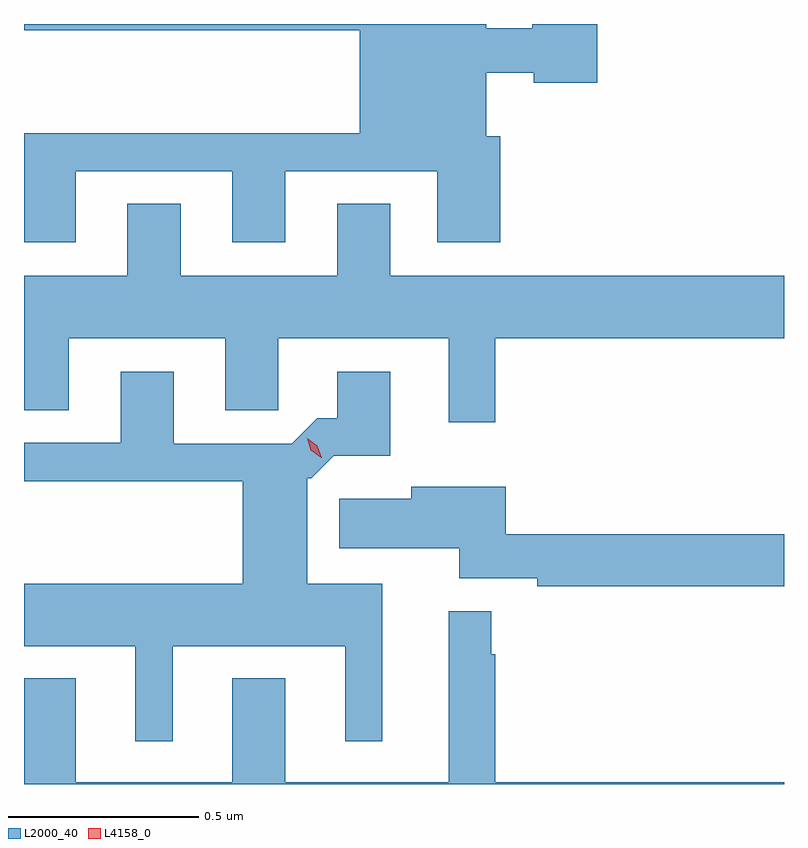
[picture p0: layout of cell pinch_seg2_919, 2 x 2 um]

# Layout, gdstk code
import gdstk
lib = gdstk.Library(unit=1e-6, precision=1e-09)
def P(c, l, *ps):  # polygons
    for p in ps: c.add(gdstk.Polygon(p, *l))
L2000_40 = (2000, 40)
L4158_0 = (4158, 0)

pinch_seg2_919 = lib.new_cell('pinch_seg2_919')
P(pinch_seg2_919, L2000_40, [(431.875,585.471),(432.287,585.471),(432.287,585.285),(432.427,585.285),(432.427,585.471),(432.827,585.471),(432.827,585.285),(432.992,585.285),(432.992,585.564),(432.955,585.564),(432.955,585.731),(433.08,585.731),(433.08,585.704),(433.247,585.704),(433.247,585.859),(433.076,585.859),(433.076,585.848),(432.955,585.848),(432.955,585.859),(431.739,585.859),(431.739,585.842),(432.623,585.842),(432.623,585.572),(431.739,585.572),(431.739,585.285),(431.875,585.285)],
  [(432.979,585.032),(433.739,585.032),(433.739,585.196),(432.703,585.196),(432.703,585.386),(432.563,585.386),(432.563,585.196),(432.151,585.196),(432.151,585.386),(432.011,585.386),(432.011,585.196),(431.739,585.196),(431.739,584.842),(431.857,584.842),(431.857,585.032),(432.269,585.032),(432.269,584.842),(432.408,584.842),(432.408,585.032),(432.857,585.032),(432.857,584.811),(432.979,584.811)],
  [(432.13,584.222),(432.584,584.222),(432.584,583.971),(432.682,583.971),(432.682,584.386),(432.484,584.386),(432.484,584.664),(432.495,584.664),(432.554,584.723),(432.703,584.723),(432.703,584.944),(432.563,584.944),(432.563,584.821),(432.511,584.821),(432.444,584.754),(432.133,584.754),(432.133,584.944),(431.993,584.944),(431.993,584.757),(431.739,584.757),(431.739,584.656),(432.314,584.656),(432.314,584.386),(431.739,584.386),(431.739,584.222),(432.032,584.222),(432.032,583.971),(432.13,583.971)],
  [(433.739,584.516),(433.007,584.516),(433.007,584.641),(432.758,584.641),(432.758,584.61),(432.569,584.61),(432.569,584.48),(432.884,584.48),(432.884,584.4),(433.09,584.4),(433.09,584.38),(433.739,584.38)],
  [(433.739,583.864),(432.979,583.864),(432.979,584.201),(432.968,584.201),(432.968,584.314),(432.857,584.314),(432.857,583.864),(432.427,583.864),(432.427,584.137),(432.287,584.137),(432.287,583.864),(431.875,583.864),(431.875,584.137),(431.739,584.137),(431.739,583.859),(433.739,583.859)])
P(pinch_seg2_919, L4158_0, [(432.521,584.717),(432.494,584.737),(432.484,584.769),(432.484,584.769),(432.484,584.769),(432.511,584.749),(432.522,584.717),(432.522,584.717)])

lib.write_gds('pinch_seg2_919.gds')
